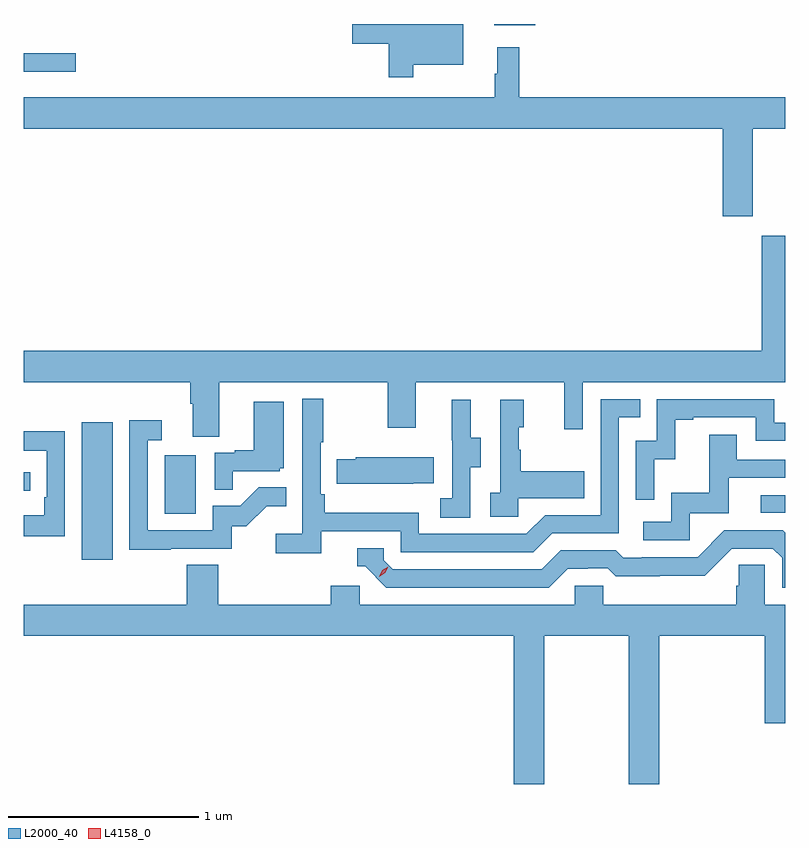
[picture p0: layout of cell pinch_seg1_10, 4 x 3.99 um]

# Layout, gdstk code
import gdstk
lib = gdstk.Library(unit=1e-6, precision=1e-09)
def R(c, l, rs):  # rectangles x0, y0, x1, y1
    for r in rs: c.add(gdstk.rectangle(r[:2], r[2:], *l))
def P(c, l, *ps):  # polygons
    for p in ps: c.add(gdstk.Polygon(p, *l))
L2000_40 = (2000, 40)
L4158_0 = (4158, 0)

pinch_seg1_10 = lib.new_cell('pinch_seg1_10')
R(pinch_seg1_10, L2000_40, [(1083.743,578.772,1083.904,579.493), (1084.178,579.012,1084.342,579.319), (1087.311,579.018,1087.438,579.111), (1083.438,579.135,1083.472,579.231), (1083.438,581.336,1083.712,581.433), (1085.909,581.579,1086.124,581.586)])
P(pinch_seg1_10, L2000_40, [(1085.485,581.372),(1085.746,581.372),(1085.746,581.586),(1085.163,581.586),(1085.163,581.483),(1085.356,581.483),(1085.356,581.307),(1085.485,581.307)],
  [(1087.269,581.036),(1087.438,581.036),(1087.438,581.2),(1086.041,581.2),(1086.041,581.464),(1085.924,581.464),(1085.924,581.324),(1085.913,581.324),(1085.913,581.2),(1083.438,581.2),(1083.438,581.036),(1087.109,581.036),(1087.109,580.575),(1087.269,580.575)],
  [(1084.465,579.704),(1085.35,579.704),(1085.35,579.465),(1085.497,579.465),(1085.497,579.704),(1086.278,579.704),(1086.278,579.456),(1086.375,579.456),(1086.375,579.704),(1087.438,579.704),(1087.438,580.474),(1087.316,580.474),(1087.316,579.868),(1083.438,579.868),(1083.438,579.704),(1084.313,579.704),(1084.313,579.592),(1084.325,579.592),(1084.325,579.418),(1084.465,579.418)],
  [(1085,578.922),(1085.418,578.922),(1085.418,578.811),(1086.115,578.811),(1086.214,578.91),(1086.564,578.91),(1086.564,579.519),(1086.677,579.519),(1086.677,579.615),(1086.468,579.615),(1086.468,579.006),(1086.177,579.006),(1086.078,578.907),(1085.514,578.907),(1085.514,579.019),(1085.018,579.019),(1085.018,579.115),(1084.998,579.115),(1084.998,579.388),(1085.011,579.388),(1085.011,579.616),(1084.902,579.616),(1084.902,578.908),(1084.761,578.908),(1084.761,578.806),(1085,578.806)],
  [(1086.75,579.299),(1086.86,579.299),(1086.86,579.507),(1086.955,579.507),(1086.955,579.519),(1087.284,579.519),(1087.284,579.396),(1087.438,579.396),(1087.438,579.492),(1087.38,579.492),(1087.38,579.615),(1086.762,579.615),(1086.762,579.396),(1086.654,579.396),(1086.654,579.087),(1086.75,579.087)],
  [(1086.036,579.095),(1086.383,579.095),(1086.383,579.235),(1086.049,579.235),(1086.049,579.35),(1086.039,579.35),(1086.039,579.468),(1086.064,579.468),(1086.064,579.613),(1085.94,579.613),(1085.94,579.122),(1085.889,579.122),(1085.889,578.997),(1086.036,578.997)],
  [(1085.784,579.256),(1085.839,579.256),(1085.839,579.411),(1085.785,579.411),(1085.785,579.613),(1085.687,579.613),(1085.687,579.399),(1085.688,579.399),(1085.688,579.095),(1085.625,579.095),(1085.625,578.992),(1085.784,578.992)],
  [(1084.535,579.237),(1084.782,579.237),(1084.782,579.252),(1084.804,579.252),(1084.804,579.601),(1084.646,579.601),(1084.646,579.346),(1084.547,579.346),(1084.547,579.333),(1084.44,579.333),(1084.44,579.139),(1084.535,579.139)],
  [(1084.211,578.829),(1084.53,578.829),(1084.53,578.946),(1084.606,578.946),(1084.713,579.053),(1084.817,579.053),(1084.817,579.152),(1084.673,579.152),(1084.575,579.054),(1084.431,579.054),(1084.431,578.925),(1084.089,578.925),(1084.089,579.399),(1084.162,579.399),(1084.162,579.505),(1083.993,579.505),(1083.993,578.824),(1084.211,578.824)],
  [(1083.654,579.446),(1083.438,579.446),(1083.438,579.345),(1083.558,579.345),(1083.558,579.1),(1083.545,579.1),(1083.545,579.004),(1083.438,579.004),(1083.438,578.895),(1083.654,578.895)],
  [(1086.936,579.015),(1087.141,579.015),(1087.141,579.201),(1087.438,579.201),(1087.438,579.297),(1087.183,579.297),(1087.183,579.427),(1087.039,579.427),(1087.039,579.124),(1086.84,579.124),(1086.84,578.97),(1086.693,578.97),(1086.693,578.874),(1086.936,578.874)],
  [(1085.483,579.173),(1085.591,579.173),(1085.591,579.31),(1085.181,579.31),(1085.181,579.3),(1085.083,579.3),(1085.083,579.17),(1085.483,579.17)],
  [(1086.295,578.724),(1086.402,578.724),(1086.402,578.727),(1086.505,578.727),(1086.547,578.685),(1086.78,578.685),(1086.78,578.687),(1087.016,578.687),(1087.158,578.829),(1087.374,578.829),(1087.422,578.781),(1087.422,578.625),(1087.438,578.625),(1087.438,578.912),(1087.425,578.925),(1087.119,578.925),(1086.978,578.784),(1086.685,578.784),(1086.685,578.781),(1086.586,578.781),(1086.547,578.82),(1086.258,578.82),(1086.159,578.721),(1085.376,578.721),(1085.328,578.769),(1085.328,578.832),(1085.189,578.832),(1085.189,578.736),(1085.232,578.736),(1085.343,578.625),(1086.196,578.625)],
  [(1086.171,578.372),(1086.616,578.372),(1086.616,577.593),(1086.776,577.593),(1086.776,578.372),(1087.331,578.372),(1087.331,577.911),(1087.438,577.911),(1087.438,578.536),(1087.332,578.536),(1087.332,578.744),(1087.195,578.744),(1087.195,578.634),(1087.181,578.634),(1087.181,578.536),(1086.483,578.536),(1086.483,578.634),(1086.333,578.634),(1086.333,578.536),(1085.202,578.536),(1085.202,578.634),(1085.051,578.634),(1085.051,578.536),(1084.46,578.536),(1084.46,578.744),(1084.295,578.744),(1084.295,578.536),(1083.438,578.536),(1083.438,578.372),(1086.011,578.372),(1086.011,577.593),(1086.171,577.593)])
P(pinch_seg1_10, L4158_0, [(1085.306,578.682),(1085.306,578.682),(1085.322,578.715),(1085.352,578.735),(1085.352,578.735),(1085.352,578.735),(1085.337,578.702),(1085.306,578.682)])

lib.write_gds('pinch_seg1_10.gds')
